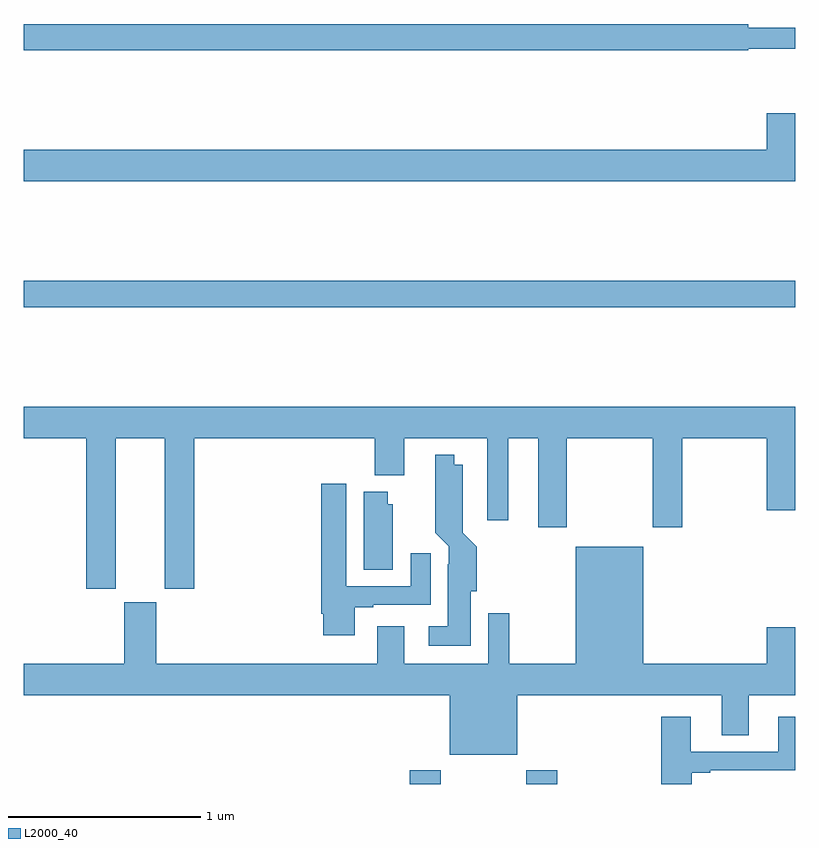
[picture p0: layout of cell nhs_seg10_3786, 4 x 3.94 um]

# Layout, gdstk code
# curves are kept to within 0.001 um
import gdstk
lib = gdstk.Library(unit=1e-6, precision=1e-09)
def R(c, l, rs):  # rectangles x0, y0, x1, y1
    for r in rs: c.add(gdstk.rectangle(r[:2], r[2:], *l))
def P(c, l, *ps):  # polygons
    for p in ps: c.add(gdstk.Polygon(p, *l))
L2000_40 = (2000, 40)

nhs_seg10_3786 = lib.new_cell('nhs_seg10_3786')
R(nhs_seg10_3786, L2000_40, [(319.001,1322.5,319.161,1322.572), (319.606,1322.5,319.766,1322.572), (317,1324.972,321,1325.108)])
P(nhs_seg10_3786, L2000_40, [(320.755,1326.312),(321,1326.312),(321,1326.421),(320.756,1326.421),(320.756,1326.44),(317,1326.44),(317,1326.304),(320.755,1326.304)],
  [(321,1325.977),(320.852,1325.977),(320.852,1325.788),(317,1325.788),(317,1325.624),(321,1325.624)],
  [(317.476,1324.292),(317.732,1324.292),(317.732,1323.513),(317.885,1323.513),(317.885,1324.292),(318.821,1324.292),(318.821,1324.1),(318.973,1324.1),(318.973,1324.292),(319.403,1324.292),(319.403,1323.867),(319.513,1323.867),(319.513,1324.292),(319.667,1324.292),(319.667,1323.831),(319.815,1323.831),(319.815,1324.292),(320.26,1324.292),(320.26,1323.831),(320.415,1323.831),(320.415,1324.292),(320.852,1324.292),(320.852,1323.918),(321,1323.918),(321,1324.456),(317,1324.456),(317,1324.292),(317.324,1324.292),(317.324,1323.513),(317.476,1323.513)],
  [(319.318,1323.498),(319.349,1323.498),(319.349,1323.73),(319.277,1323.802),(319.276,1324.156),(319.231,1324.156),(319.231,1324.207),(319.134,1324.207),(319.133,1323.802),(319.203,1323.732),(319.203,1323.638),(319.199,1323.638),(319.199,1323.319),(319.101,1323.319),(319.101,1323.218),(319.318,1323.218)],
  [(318.715,1323.417),(318.811,1323.417),(318.811,1323.429),(319.111,1323.429),(319.111,1323.697),(319.007,1323.697),(319.007,1323.525),(318.673,1323.525),(318.673,1324.057),(318.542,1324.057),(318.542,1323.382),(318.554,1323.382),(318.554,1323.27),(318.715,1323.27)],
  [(318.913,1323.951),(318.886,1323.951),(318.886,1324.015),(318.764,1324.015),(318.764,1323.61),(318.913,1323.61)],
  [(319.558,1322.96),(320.618,1322.96),(320.618,1322.752),(320.758,1322.752),(320.758,1322.96),(321,1322.96),(321,1323.313),(320.852,1323.313),(320.852,1323.124),(320.212,1323.124),(320.212,1323.73),(319.862,1323.73),(319.862,1323.124),(319.516,1323.124),(319.516,1323.385),(319.407,1323.385),(319.407,1323.124),(318.973,1323.124),(318.973,1323.319),(318.833,1323.319),(318.833,1323.124),(317.686,1323.124),(317.686,1323.441),(317.522,1323.441),(317.522,1323.124),(317,1323.124),(317,1322.96),(319.208,1322.96),(319.208,1322.651),(319.558,1322.651)],
  [(320.464,1322.559),(320.56,1322.559),(320.56,1322.571),(321,1322.571),(321,1322.848),(320.912,1322.848),(320.912,1322.667),(320.458,1322.667),(320.458,1322.848),(320.306,1322.848),(320.306,1322.5),(320.464,1322.5)])

lib.write_gds('nhs_seg10_3786.gds')
